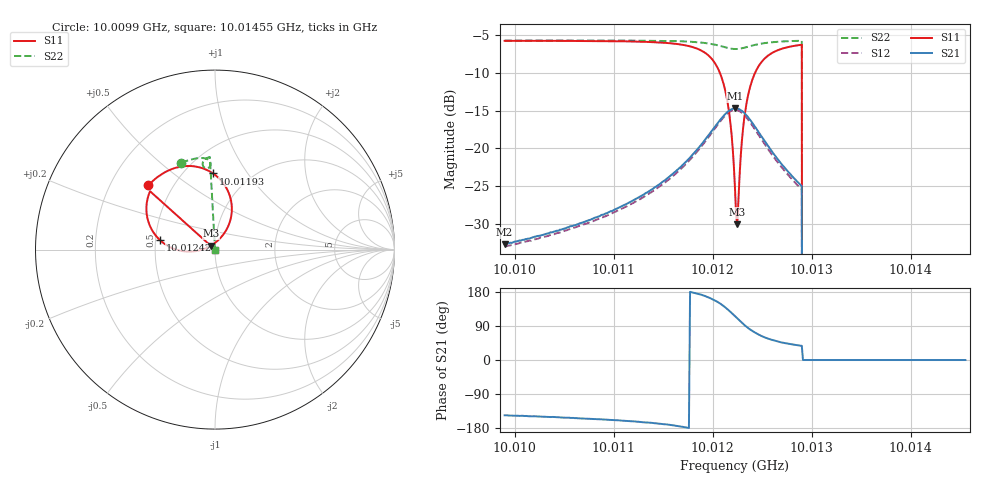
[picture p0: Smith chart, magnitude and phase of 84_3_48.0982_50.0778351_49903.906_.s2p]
#  HZ  S  RI  R  50.00
! Rohde & Schwarz Vector Network Analyzer
! Rohde-Schwarz,ZNB20-2Port,1311601062101988,3.16
! Created: UTC 12/23/2023, 3:43:06 AM
! freq[Hz]  re:S11  im:S11  re:S21  im:S21  re:S12  im:S12  re:S22  im:S22
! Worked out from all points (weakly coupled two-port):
!   401 points, 10.0099 GHz to 10.01455 GHz, reference 50 ohm
!   highest |S21| = -14.70 dB at 10.01222 GHz (marker M1); lowest = -32.7 dB at 10.0099 GHz (marker M2)
!   lowest |S11| = -30.1 dB at 10.01225 GHz (marker M3), VSWR 1.06, Z = 47.8 + j2.1 ohm
!   |S11| at or under -10 dB: 10.01207 GHz to 10.01243 GHz (354.4 kHz wide, 0.00354 % of centre); 10.0129 GHz to end of sweep
!   |S22| runs from - to -5.7 dB; largest |S21 - S12| = 0.0086
!   S11 on the Smith chart (normalised r, x): 10.0099 GHz: 0.37, +0.36; 10.01193 GHz: 0.68, +0.71; 10.01242 GHz: 0.53, +0.06; 10.01455 GHz: 1.00, +0.00
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1.0009899e10  -0.3706 0.3591  -0.0191 -0.0129  -0.0179 -0.0136  -0.1876 0.4834
1.0010678e10  -0.3151 0.4081  -0.0289 -0.0141  -0.0271 -0.0147  -0.1376 0.5005
1.0011457e10  -0.2087 0.4585  -0.0562 -0.0119  -0.0536 -0.0142  -0.0804 0.5102
1.0011725e10  -0.1265 0.465  -0.0809 -0.00344  -0.0778 -0.00738  -0.056 0.5083
1.0011934e10  -0.0118 0.4246  -0.1139 0.0251  -0.1116 0.0183  -0.0342 0.4971
1.001205e10  0.0683 0.3341  -0.1311 0.0668  -0.131 0.0587  -0.0249 0.4816
1.0012132e10  0.0936 0.2129  -0.126 0.1145  -0.128 0.1065  -0.0266 0.466
1.0012178e10  0.0726 0.1282  -0.1087 0.1435  -0.1123 0.1357  -0.033 0.4578
1.0012202e10  0.0489 0.0874  -0.0957 0.156  -0.0993 0.1486  -0.0374 0.455
1.0012225e10  0.0169 0.0512  -0.0806 0.1656  -0.0835 0.1592  -0.0429 0.4536
1.0012248e10  -0.0224 0.0219  -0.0626 0.1725  -0.0661 0.1662  -0.0483 0.4533
1.001226e10  -0.0442 0.0106  -0.0532 0.1746  -0.0574 0.1683  -0.0511 0.4538
1.0012306e10  -0.1347 -0.0113  -0.017 0.1739  -0.0218 0.1679  -0.0608 0.4587
1.0012329e10  -0.1781 -0.00887  -0.000752 0.1688  -0.00567 0.1631  -0.0643 0.4624
1.0012376e10  -0.2531 0.015  0.0249 0.153  0.019 0.1481  -0.0681 0.4708
1.0012422e10  -0.3071 0.0533  0.0409 0.1342  0.0355 0.1299  -0.069 0.4797
1.0012585e10  -0.379 0.189  0.0572 0.0792  0.052 0.0774  -0.0579 0.5011
1.0012876e10  -0.3646 0.3188  0.0457 0.0359  0.0416 0.0363  -0.0308 0.5156
1.0012934e10  0 0  0 0  0 0  0 0
1.0013004e10  0 0  0 0  0 0  0 0
1.0013783e10  0 0  0 0  0 0  0 0
1.001455e10  0 0  0 0  0 0  0 0
